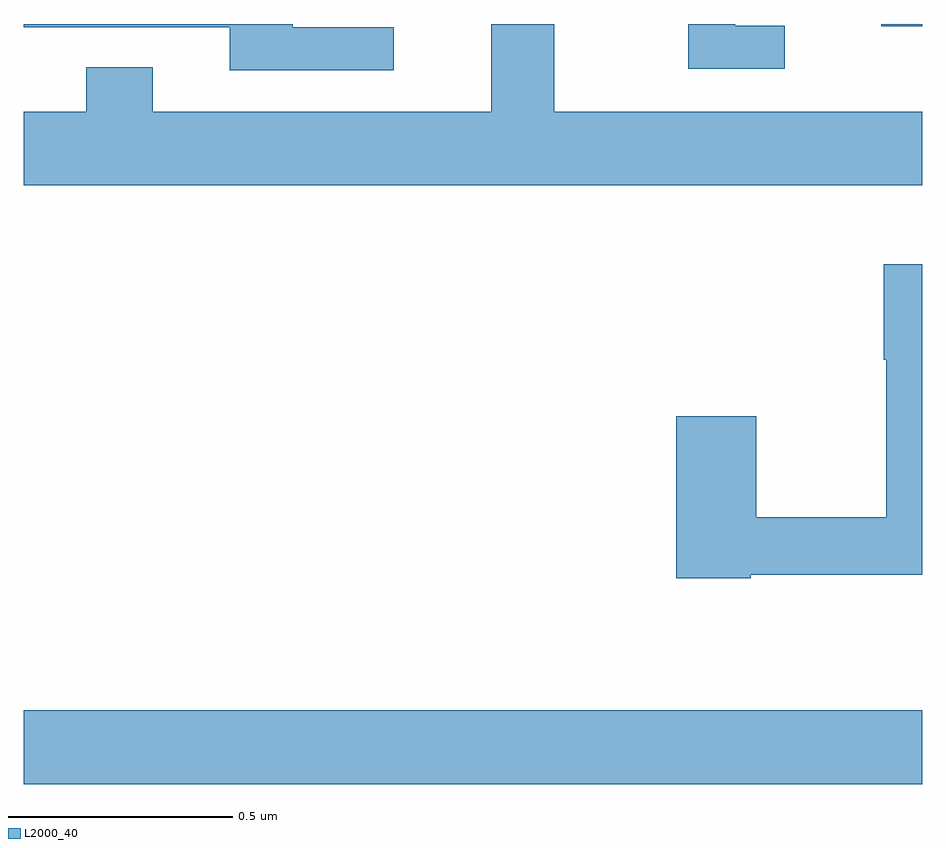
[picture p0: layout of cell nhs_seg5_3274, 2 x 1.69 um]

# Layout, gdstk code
import gdstk
lib = gdstk.Library(unit=1e-6, precision=1e-09)
def R(c, l, rs):  # rectangles x0, y0, x1, y1
    for r in rs: c.add(gdstk.rectangle(r[:2], r[2:], *l))
def P(c, l, *ps):  # polygons
    for p in ps: c.add(gdstk.Polygon(p, *l))
L2000_40 = (2000, 40)

nhs_seg5_3274 = lib.new_cell('nhs_seg5_3274')
R(nhs_seg5_3274, L2000_40, [(155,842.108,157,842.272), (156.908,843.794,157,843.799)])
P(nhs_seg5_3274, L2000_40, [(157,843.604),(156.181,843.604),(156.181,843.799),(156.041,843.799),(156.041,843.604),(155.287,843.604),(155.287,843.703),(155.14,843.703),(155.14,843.604),(155,843.604),(155,843.44),(157,843.44)],
  [(156.694,843.795),(156.583,843.795),(156.583,843.799),(156.479,843.799),(156.479,843.699),(156.694,843.699)],
  [(155.824,843.792),(155.599,843.792),(155.599,843.799),(155,843.799),(155,843.792),(155.459,843.792),(155.459,843.696),(155.824,843.696)],
  [(156.618,842.574),(157,842.574),(157,843.265),(156.914,843.265),(156.914,843.052),(156.919,843.052),(156.919,842.702),(156.63,842.702),(156.63,842.926),(156.452,842.926),(156.452,842.566),(156.618,842.566)])

lib.write_gds('nhs_seg5_3274.gds')
